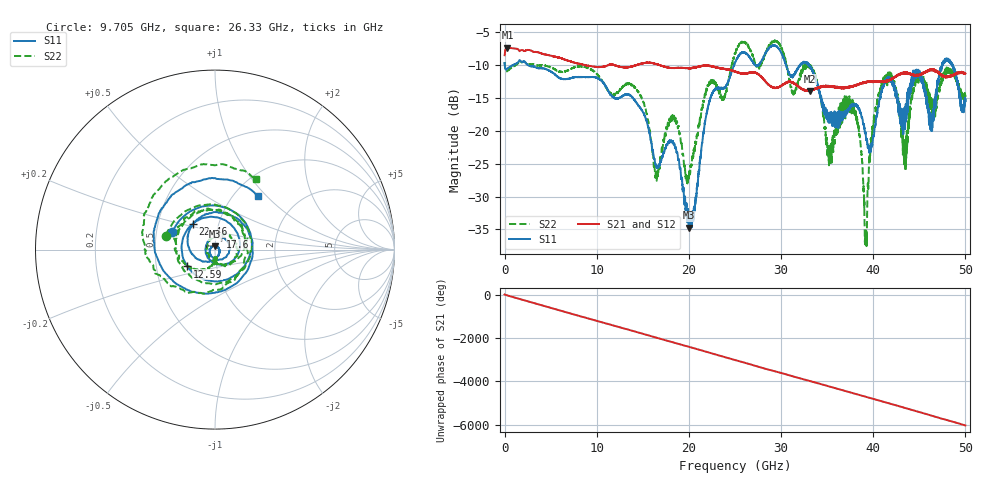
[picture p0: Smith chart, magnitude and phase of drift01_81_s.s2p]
!Created with skrf (http://scikit-rf.org).
# Hz S RI R 50.0
!freq ReS11 ImS11 ReS21 ImS21 ReS12 ImS12 ReS22 ImS22
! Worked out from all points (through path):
!   10001 points, 300 kHz to 50 GHz, reference 50 ohm
!   highest |S21| = -7.33 dB at 310.3 MHz (marker M1); lowest = -13.9 dB at 33.1 GHz (marker M2)
!   group delay of S21, straight-line fit = 335 ps
!   lowest |S11| = -34.8 dB at 20.01 GHz (marker M3), VSWR 1.04, Z = 49.8 + j1.82 ohm
!   |S11| at or under -10 dB: 2.556 GHz to 24.9 GHz (22.34 GHz wide, 163 % of centre); 30.54 GHz to 32.03 GHz (1.487 GHz wide, 4.75 % of centre); 33.08 GHz to 47.45 GHz (14.38 GHz wide, 35.7 % of centre) (the widest 3 of 19)
!   |S22| runs from -37.6 to -6.2 dB; largest |S21 - S12| = 0.011
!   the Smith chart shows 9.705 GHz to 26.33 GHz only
!   S11 on the Smith chart (normalised r, x): 9.705 GHz: 0.61, +0.13; 12.59 GHz: 0.72, -0.14; 17.6 GHz: 1.05, +0.15; 22.46 GHz: 0.75, +0.22; 26.33 GHz: 1.29, +0.89
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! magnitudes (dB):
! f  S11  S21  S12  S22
! 300 kHz  -9.7  -8.5  -8.5  -9.5
! 310.3 MHz  -10.5  -7.3  -7.3  -10.9
! 8.335 GHz  -11.8  -9.8  -9.8  -10.2
! 9.705 GHz  -11.8  -10.2  -10.2  -10.9
! 12.59 GHz  -14.9  -10.2  -10.3  -13.7
! 16.67 GHz  -25.6  -9.9  -9.9  -26.8
! 17.6 GHz  -22.0  -10.3  -10.3  -19.6
! 20.01 GHz  -34.8  -10.5  -10.4  -26.6
! 22.46 GHz  -14.5  -10.2  -10.2  -12.6
! 25 GHz  -9.6  -11.0  -11.0  -8.2
! 26.33 GHz  -8.3  -11.2  -11.2  -6.9
! 33.1 GHz  -10.1  -13.9  -13.8  -10.3
! 33.34 GHz  -10.7  -13.8  -13.7  -10.6
! 35.27 GHz  -18.0  -13.2  -13.2  -23.3
! 37.96 GHz  -15.8  -13.0  -13.1  -17.4
! 39.19 GHz  -20.5  -12.5  -12.6  -35.9
! 40.1 GHz  -20.3  -12.4  -12.5  -17.5
! 41.67 GHz  -11.8  -12.2  -12.3  -11.8
! 43.43 GHz  -18.6  -11.2  -11.2  -23.1
! 44.88 GHz  -10.8  -11.5  -11.5  -12.4
! 46.27 GHz  -20.0  -10.7  -10.7  -15.8
! 50 GHz  -15.5  -11.3  -11.2  -15.1
